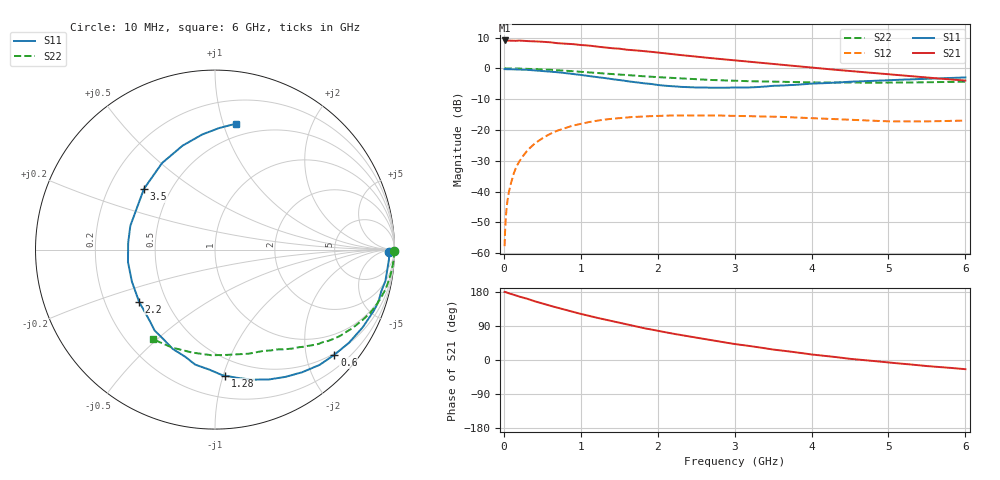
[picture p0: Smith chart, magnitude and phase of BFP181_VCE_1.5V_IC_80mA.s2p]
! Infineon Technologies  Discrete & RF Semiconductors
! BFP181
! VCE = 1.5 V,  IC =  80 mA
! Common Emitter S-Parameters:  Jan 2016
# GHz  S  MA  R  50
!  f  S11  S21  S12  S22
! GHz  MAG  ANG  MAG  ANG  MAG  ANG  MAG  ANG
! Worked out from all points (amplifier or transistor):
!   210 points, 10 MHz to 6 GHz, reference 50 ohm
!   highest |S21| = 9.1 dB at 10 MHz (marker M1)
!   |S21| within 3 dB of that: start of sweep to 1.598 GHz
!   unconditionally stable (mu >= 1): 3.144 GHz to end of sweep
!   at 185 MHz: K = 0.07, MSG = 20.0 dB, |S12| = -30.9 dB
!   at 1.52 GHz: K = 0.51, MSG = 11.2 dB, |S12| = -16.1 dB
!   at 6 GHz: K = 1.36, MAG = 2.9 dB, |S12| = -16.9 dB
!   S11 on the Smith chart (normalised r, x): 10 MHz: 55, -26; 600 MHz: 0.47, -2.57; 1.28 GHz: 0.36, -1.02; 2.2 GHz: 0.35, -0.27; 3.5 GHz: 0.35, +0.33; 6 GHz: 0.39, +1.11
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0.01  0.9706 -0.8  2.837 179.7  0.0013 87.1  0.9997 -0.3
0.015  0.9704 -1.1  2.825 179.6  0.0021 85.8  0.9991 -0.5
0.025  0.9703 -1.8  2.815 179.0  0.0037 87.2  0.9983 -0.9
0.05  0.9707 -3.3  2.83 177.0  0.0076 90.9  0.9977 -1.7
0.085  0.9672 -5.9  2.818 174.8  0.0126 86.9  0.9971 -2.8
0.15  0.9653 -10.4  2.795 170.8  0.0232 82.3  0.9943 -4.9
0.34  0.9396 -23.6  2.761 159.2  0.0512 73.8  0.9803 -11.2
0.5  0.9088 -34.9  2.706 148.8  0.0733 66.5  0.9629 -16.2
0.6  0.8864 -41.4  2.652 143.3  0.0861 62.1  0.9489 -19.3
0.88  0.815 -59.8  2.481 127.8  0.1159 50.7  0.9016 -26.9
1.02  0.7759 -69.0  2.386 120.7  0.1275 45.4  0.8759 -30.5
1.28  0.7047 -85.4  2.209 108.2  0.1455 36.3  0.8309 -36.5
1.5  0.6502 -99.8  2.088 98.1  0.1557 30.1  0.7922 -40.6
1.8  0.5764 -119.8  1.916 84.8  0.1657 22.7  0.7467 -45.8
2.02  0.5344 -133.8  1.795 76.3  0.1697 17.8  0.7183 -49.2
2.2  0.513 -145.6  1.689 69.4  0.1721 13.9  0.6975 -52.3
2.78  0.4846 176.8  1.435 49.4  0.1715 4.1  0.6428 -60.9
3.1  0.4885 159.2  1.312 39.6  0.1685 -0.3  0.6217 -65.8
3.5  0.5208 139.5  1.179 27.6  0.1652 -4.4  0.6095 -72.1
4.1  0.5706 118.5  1.002 12.5  0.1538 -8.5  0.5903 -83.6
5.1  0.6509 94.6  0.78 -8.4  0.1379 -9.0  0.5875 -104.8
6  0.7119 80.4  0.634 -24.2  0.1421 -4.6  0.6076 -124.8
